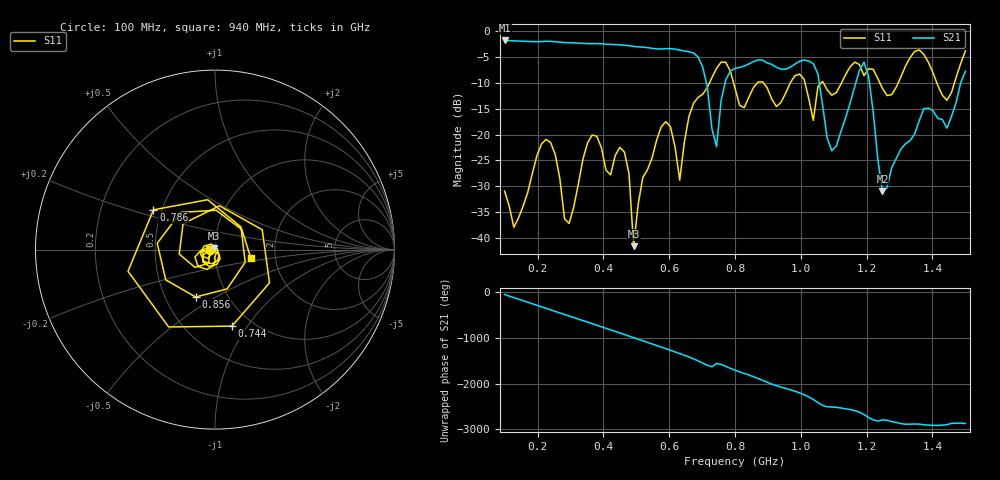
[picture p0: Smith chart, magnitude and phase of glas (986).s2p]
! NanoVNA-App
! Date: 2025-09-25 16:03:09
! Start: 100MHz Stop: 1,5GHz Points: 101
! S-Parameter data: F S11 S21 S12 S22
# Hz S RI R 50
!  Frequency  S11_Real  S11_Imag  S21_Real  S21_Imag  S12_Real  S12_Imag  S22_Real  S22_Imag
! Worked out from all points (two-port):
!   101 points, 100 MHz to 1.5 GHz, reference 50 ohm
!   highest |S21| = -1.80 dB at 100 MHz (marker M1); lowest = -30.9 dB at 1.248 GHz (marker M2)
!   |S21| within 3 dB of the highest: start of sweep to 684.5 MHz
!   lowest |S11| = -41.6 dB at 492 MHz (marker M3), VSWR 1.02, Z = 49.5 + j0.631 ohm
!   |S11| at or under -10 dB: start of sweep to 722.5 MHz; 795.6 MHz to 867.9 MHz (72.31 MHz wide, 8.69 % of centre); 886.4 MHz to 967.9 MHz (81.54 MHz wide, 8.79 % of centre) (the widest 3 of 7)
!   S12 and S22 are empty: the file has one direction only
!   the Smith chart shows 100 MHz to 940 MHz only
!   S11 on the Smith chart (normalised r, x): 100 MHz: 0.94, -0.01; 744 MHz: 0.81, -0.85; 786 MHz: 0.45, +0.24; 856 MHz: 0.71, -0.41; 940 MHz: 1.49, -0.15
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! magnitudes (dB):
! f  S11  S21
! 100 MHz  -30.9  -1.8
! 128 MHz  -37.9  -1.9
! 226 MHz  -20.9  -2.0
! 296 MHz  -37.2  -2.2
! 338 MHz  -24.7  -2.4
! 464 MHz  -23.4  -2.7
! 492 MHz  -41.6  -2.9
! 576 MHz  -18.5  -3.5
! 632 MHz  -28.8  -3.7
! 702 MHz  -12.2  -7.0
! 744 MHz  -7.2  -22.3
! 786 MHz  -7.8  -7.7
! 800 MHz  -11.0  -7.2
! 856 MHz  -10.9  -5.9
! 940 MHz  -13.8  -7.3
! 996 MHz  -8.3  -5.8
! 1.038 GHz  -17.3  -6.3
! 1.094 GHz  -12.4  -23.1
! 1.192 GHz  -8.6  -6.0
! 1.248 GHz  -11.1  -30.9
! 1.276 GHz  -12.3  -26.4
! 1.5 GHz  -3.8  -7.8
